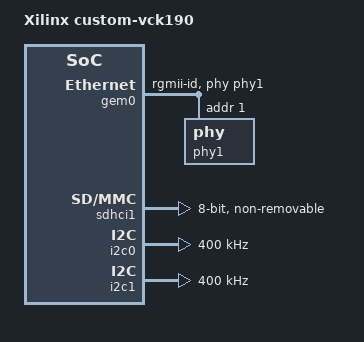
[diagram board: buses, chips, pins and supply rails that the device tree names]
/*
*
* Copyright 2020 Xilinx Inc.
*
* Licensed under the Apache License, Version 2.0 (the "License");
* you may not use this file except in compliance with the License.
* You may obtain a copy of the License at
*
*     http://www.apache.org/licenses/LICENSE-2.0
*
* Unless required by applicable law or agreed to in writing, software
* distributed under the License is distributed on an "AS IS" BASIS,
* WITHOUT WARRANTIES OR CONDITIONS OF ANY KIND, either express or implied.
* See the License for the specific language governing permissions and
* limitations under the License.
*/

/ {
	compatible = "xlnx,versal";
	model = "Xilinx custom-vck190";
	chosen {
	bootargs = "console=ttyAMA0 earlycon=pl011,mmio32,0xFF000000,115200n8 clk_ignore_unused root=/dev/mmcblk0p2 rw rootwait cma=512M";
		};

	aliases {
			serial0 = &serial0;
			ethernet0 = &gem0;
			i2c0 = &i2c0;
			i2c1 = &i2c1;
			mmc0 = &sdhci1;
			usb0 = &usb0;
		};

   };

&gem0 { /* PMC_MIO_48, LPD_MIO0-11/24/25 */
	phy-handle = <&phy1>; /* u128 */
	phy-mode = "rgmii-id";
	phy1: phy@1 {
		reg = <1>;
		ti,rx-internal-delay = <0xb>;
		ti,tx-internal-delay = <0xa>;
		ti,fifo-depth = <1>;
		ti,dp83867-rxctrl-strap-quirk;
	};
};
&sdhci1 { /* emmc MIO 0-13 - MTFC8GAKAJCN */
	non-removable;
	disable-wp;
	bus-width = <8>;
	xlnx,mio-bank = <0>;
	no-1-8-v;
};
&i2c0 { /* PMC_MIO46/47 */
	clock-frequency = <400000>;
};

&i2c1 { /* PMC_MIO44/45 */
	clock-frequency = <400000>;
};
&usb0 { /* PMC_MIO13_500 - PMC_MIO25 USB 2.0 */
	xlnx,usb-polarity = <0x0>;
	xlnx,usb-reset-mode = <0x0>;
};
